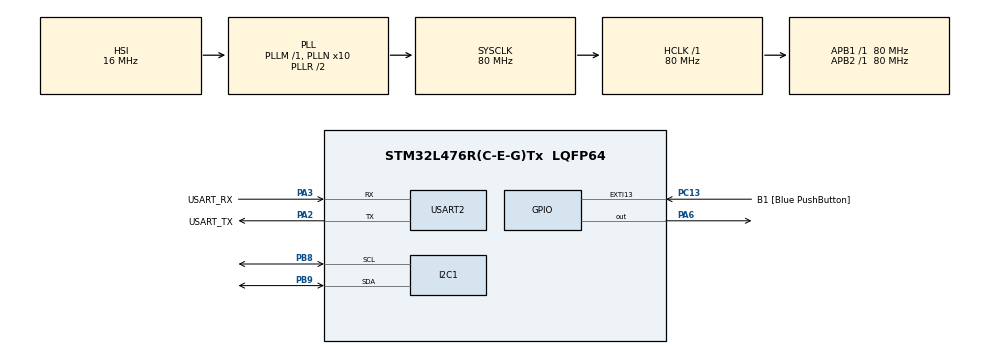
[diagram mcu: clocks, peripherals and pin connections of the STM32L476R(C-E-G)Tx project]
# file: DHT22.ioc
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I2C1.Timing=0x10909CEC
Mcu.Family=STM32L4
Mcu.Name=STM32L476R(C-E-G)Tx
Mcu.Package=LQFP64
NVIC.I2C1_ER_IRQn=true\:0\:0\:false\:false\:true\:true\:true
NVIC.I2C1_EV_IRQn=true\:0\:0\:false\:false\:true\:true\:true
NVIC.PriorityGroup=NVIC_PRIORITYGROUP_4
PA13\ (JTMS-SWDIO).GPIO_Label=TMS
PA13\ (JTMS-SWDIO).Mode=Serial_Wire
PA13\ (JTMS-SWDIO).Signal=SYS_JTMS-SWDIO
PA14\ (JTCK-SWCLK).GPIO_Label=TCK
PA14\ (JTCK-SWCLK).Mode=Serial_Wire
PA14\ (JTCK-SWCLK).Signal=SYS_JTCK-SWCLK
PA2.GPIO_Label=USART_TX
PA2.GPIO_Mode=GPIO_MODE_AF_PP
PA2.GPIO_PuPd=GPIO_NOPULL
PA2.GPIO_Speed=GPIO_SPEED_FREQ_VERY_HIGH
PA2.Mode=Asynchronous
PA2.Signal=USART2_TX
PA3.GPIO_Label=USART_RX
PA3.GPIO_Mode=GPIO_MODE_AF_PP
PA3.GPIO_PuPd=GPIO_NOPULL
PA3.GPIO_Speed=GPIO_SPEED_FREQ_VERY_HIGH
PA3.Mode=Asynchronous
PA3.Signal=USART2_RX
PA6.Signal=GPIO_Output
PB3\ (JTDO-TRACESWO).GPIO_Label=SWO
PB3\ (JTDO-TRACESWO).Signal=SYS_JTDO-SWO
PB8.Mode=I2C
PB8.Signal=I2C1_SCL
PB9.Mode=I2C
PB9.Signal=I2C1_SDA
PC13.GPIO_Label=B1 [Blue PushButton]
PC13.GPIO_ModeDefaultEXTI=GPIO_MODE_IT_FALLING
PC13.GPIO_PuPd=GPIO_NOPULL
PC13.Signal=GPXTI13
PC14-OSC32_IN\ (PC14).Signal=RCC_OSC32_IN
PC15-OSC32_OUT\ (PC15).Signal=RCC_OSC32_OUT
PH0-OSC_IN\ (PH0).Mode=HSE-External-Oscillator
PH0-OSC_IN\ (PH0).Signal=RCC_OSC_IN
PH1-OSC_OUT\ (PH1).Mode=HSE-External-Oscillator
PH1-OSC_OUT\ (PH1).Signal=RCC_OSC_OUT
ProjectManager.HeapSize=0x200
ProjectManager.StackSize=0x400
ProjectManager.TargetToolchain=STM32CubeIDE
RCC.ADCFreq_Value=64000000
RCC.AHBFreq_Value=80000000
RCC.APB1Freq_Value=80000000
RCC.APB1TimFreq_Value=80000000
RCC.APB2Freq_Value=80000000
RCC.APB2TimFreq_Value=80000000
RCC.CortexFreq_Value=80000000
RCC.HCLKFreq_Value=80000000
RCC.HSE_VALUE=8000000
RCC.HSI_VALUE=16000000
RCC.LSE_VALUE=32768
RCC.MSI_VALUE=4000000
RCC.PLLN=10
RCC.PLLSourceVirtual=RCC_PLLSOURCE_HSI
RCC.PREFETCH_ENABLE=1
RCC.SYSCLKFreq_VALUE=80000000
RCC.SYSCLKSource=RCC_SYSCLKSOURCE_PLLCLK
RCC.USBFreq_Value=64000000
RCC.VCOOutputFreq_Value=160000000
TIM2.Prescaler=80-1
USART2.VirtualMode-Asynchronous=VM_ASYNC
VP_TIM2_VS_ClockSourceINT.Mode=Internal
board=NUCLEO-L476RG

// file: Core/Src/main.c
/* USER CODE BEGIN Header */
/*
*/
/* USER CODE END Header */

#include "main.h"
#include "i2c.h"
#include "tim.h"
#include "usart.h"
#include "gpio.h"

/* USER CODE BEGIN Includes */

#include "lib_lcd.h"
#include <stdio.h>
#include "HT.h"
#include "timer.h"

/* USER CODE END Includes */

/* USER CODE BEGIN PV */

static rgb_lcd lcdData;

float Temperature = 0, Humidite = 0;   // Initialisation des variables où l'on va stocker le résultat final

uint16_t RH = 0, TEMP = 0;             // Entiers de 16 bits contenant les bits
uint8_t dataH1;
uint8_t dataH2;
uint8_t dataT1;
uint8_t dataT2;
uint8_t SUM;
uint8_t check;

char bufRH[20];                        // Permet de stocker un taux d'humidité et de l'afficher sur le LCD
char bufT[20];                         // Permet de stocker une température et de l'afficher sur le LCD

/* USER CODE END PV */

void SystemClock_Config(void);

  /**
  * @brief  The application entry point.
  * @retval int
  **/

int main(void)
{
  /* USER CODE BEGIN 1 */

  int k = 0; // Variable pour les boucles "while"

  /* USER CODE END 1 */

  /* MCU Configuration--------------------------------------------------------*/

  /* Reset of all peripherals, Initializes the Flash interface and the Systick. */

  HAL_Init();

  /* Configure the system clock */

  SystemClock_Config();

  /* Initialize all configured peripherals */

  MX_GPIO_Init();
  MX_USART2_UART_Init();
  MX_I2C1_Init();
  MX_TIM2_Init();

  /* USER CODE BEGIN 2 */

  DWT_Delay_Init();
  lcd_init(&hi2c1, &lcdData); // Initialise l'écran LCD

  lcd_position(&hi2c1,0,0);   // Permet de positionner là où on va écrire sur le LCD

  lcd_print(&hi2c1,"-- FruitColor --");

  HAL_Delay(2000);

  /* USER CODE END 2 */

  /* Infinite loop */
  while (1)
  {

    /* USER CODE BEGIN 3 */

	  /** -------------------------------------------- Début de la communication avec le DHT22 -------------------------------------------- **/

	  HAL_Delay(2000);
	  Data_Output(GPIOA, GPIO_PIN_1);                          // Configure la broche en mode "sortie" pour communiquer avec le capteur

	  HAL_GPIO_WritePin(GPIOA, GPIO_PIN_1, GPIO_PIN_RESET);    // Envoie un premier signal de commande vers le capteur (signal logique bas)
	  DWT_Delay_us(1200);                                      // D'une durée de 1200 us

	  HAL_GPIO_WritePin(GPIOA, GPIO_PIN_1, GPIO_PIN_SET);      // Envoie le second signal de commande vers le capteur (signal logique haut)
	  DWT_Delay_us(30);                                        // D'une durée de 30 us

	  Data_Input(GPIOA, GPIO_PIN_1);                           // Configure la broche en mode "entrée" pour que le capteur communique avec la STM32

	  /** ------------------------------------------------- Réception des données du DHT22 ------------------------------------------------ **/

	  while(!(HAL_GPIO_ReadPin(GPIOA, GPIO_PIN_1)));

	  for (k=0; k < 1000; k++)                                 // Permet de récupérer tous les bits de la trames de données provenant du DHT22
	  {
		  if (HAL_GPIO_ReadPin (GPIOA, GPIO_PIN_1) == GPIO_PIN_RESET)
		  {
	  	  	break;
	  	  }
	  }

	  while(!(HAL_GPIO_ReadPin(GPIOA, GPIO_PIN_1)));
	  DWT_Delay_us(40);

	  Read_data(&dataH1);                                      // Récupère les 8 premiers bits de l'humidité
	  Read_data(&dataH2);                                      // Récupère les 8 derniers bits de l'humidité
	  Read_data(&dataT1);                                      // Récupère les 8 premiers bits de la température
	  Read_data(&dataT2);                                      // Récupère les 8 derniers bits de l'humidité
	  Read_data(&SUM);                                         // Récupère les bits du "Checksum" qui vérifie la bonne transmission de la trame

	  check = dataH1 + dataH2 + dataT1 + dataT2;               // Permet de vérifier si nous avons l'intégralité des bits

	  RH = (dataH1<<8) | dataH2;                               // On assemble ensuite tous les bits, en n'oubliant pas d'effectuer un décalage de 8
	  TEMP = (dataT1<<8) | dataT2;                             // sur la gauche pour le premier octet

	  Humidite = RH / 10.0;                                    // On divise par 10.0 les valeurs pour obtenir un nombre décimal
	  Temperature = TEMP / 10.0;

	  HAL_GPIO_WritePin(GPIOA, GPIO_PIN_1, GPIO_PIN_SET);      // Recommence une lecture

	  /** ---------------------------------------------------- Transmission vers le LCD --------------------------------------------------- **/

	  clearlcd();                                              // Clear l'écran LCD

	  sprintf(bufRH,"Humidite: %.1f ", Humidite);               // Rentre dans un buffer le pourcentage d'humidité
	  sprintf(bufT, "Temp.: %.1f C    ", Temperature);          // Rentre dans un buffer la température

	  lcd_position(&hi2c1,0,0);                                // Affichage du taux d'humidité
	  lcd_print(&hi2c1,bufRH);                                 //
	  lcd_print(&hi2c1,"%  ");                                 //

	  lcd_position(&hi2c1,0,1);                                // Affichage de la température
	  lcd_print(&hi2c1,bufT);                                  //

  }
  /* USER CODE END 3 */
}

  /**
  * @brief System Clock Configuration
  * @retval None
  **/
void SystemClock_Config(void)
{
  RCC_OscInitTypeDef RCC_OscInitStruct = {0};
  RCC_ClkInitTypeDef RCC_ClkInitStruct = {0};

  /** Configure the main internal regulator output voltage **/

  if (HAL_PWREx_ControlVoltageScaling(PWR_REGULATOR_VOLTAGE_SCALE1) != HAL_OK)
  {
    Error_Handler();
  }
  /** Initializes the RCC Oscillators according to the specified parameters in the RCC_OscInitTypeDef structure. **/

  RCC_OscInitStruct.OscillatorType = RCC_OSCILLATORTYPE_HSI;
  RCC_OscInitStruct.HSIState = RCC_HSI_ON;
  RCC_OscInitStruct.HSICalibrationValue = RCC_HSICALIBRATION_DEFAULT;
  RCC_OscInitStruct.PLL.PLLState = RCC_PLL_ON;
  RCC_OscInitStruct.PLL.PLLSource = RCC_PLLSOURCE_HSI;
  RCC_OscInitStruct.PLL.PLLM = 1;
  RCC_OscInitStruct.PLL.PLLN = 10;
  RCC_OscInitStruct.PLL.PLLP = RCC_PLLP_DIV7;
  RCC_OscInitStruct.PLL.PLLQ = RCC_PLLQ_DIV2;
  RCC_OscInitStruct.PLL.PLLR = RCC_PLLR_DIV2;
  if (HAL_RCC_OscConfig(&RCC_OscInitStruct) != HAL_OK)
  {
    Error_Handler();
  }
  /** Initializes the CPU, AHB and APB buses clocks **/

  RCC_ClkInitStruct.ClockType = RCC_CLOCKTYPE_HCLK|RCC_CLOCKTYPE_SYSCLK
                              |RCC_CLOCKTYPE_PCLK1|RCC_CLOCKTYPE_PCLK2;
  RCC_ClkInitStruct.SYSCLKSource = RCC_SYSCLKSOURCE_PLLCLK;
  RCC_ClkInitStruct.AHBCLKDivider = RCC_SYSCLK_DIV1;
  RCC_ClkInitStruct.APB1CLKDivider = RCC_HCLK_DIV1;
  RCC_ClkInitStruct.APB2CLKDivider = RCC_HCLK_DIV1;

  if (HAL_RCC_ClockConfig(&RCC_ClkInitStruct, FLASH_LATENCY_4) != HAL_OK)
  {
    Error_Handler();
  }
}

  /**
  * @brief  This function is executed in case of error occurrence.
  * @retval None
  **/

void Error_Handler(void)
{
  __disable_irq();
  while (1)
  {
  }
}
